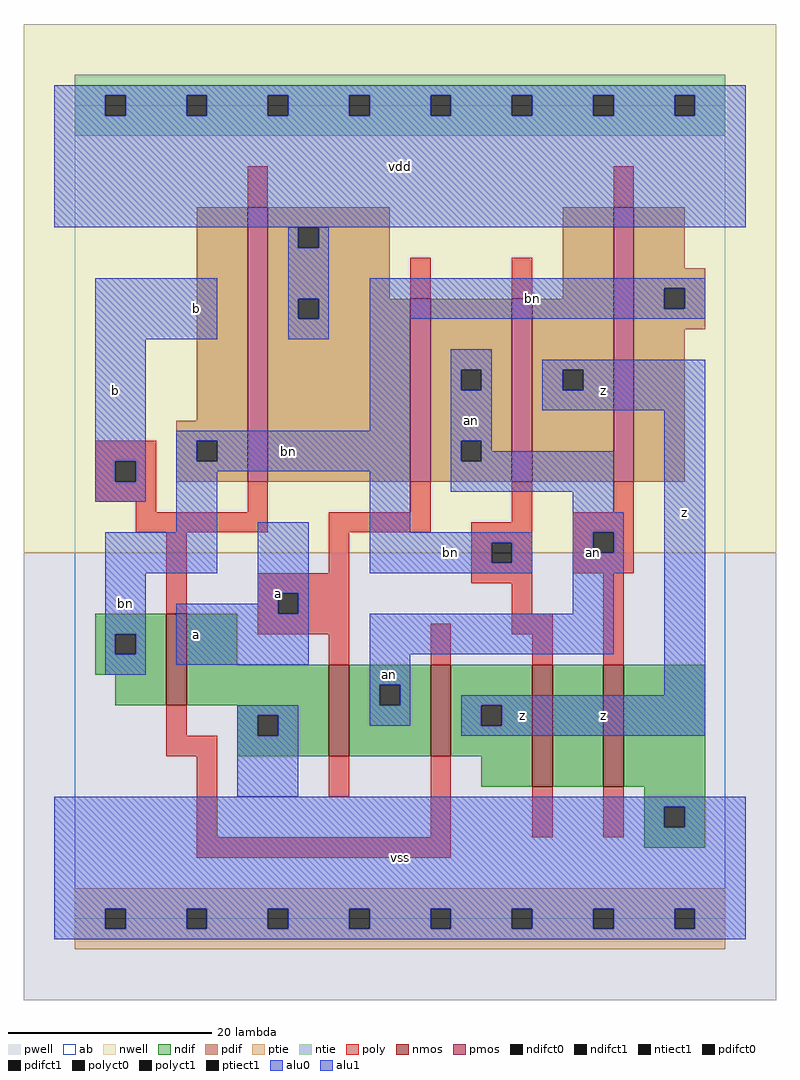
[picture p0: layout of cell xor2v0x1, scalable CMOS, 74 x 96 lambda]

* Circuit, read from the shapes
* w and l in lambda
.subckt xor2v0x1 a an b bn vdd vss z
M1 vss b bn vss nfet w=9 l=2
M2 an a vss vss nfet w=9 l=2
M3 z b an vss nfet w=9 l=2
M4 n1 bn z vss nfet w=12 l=2
M5 vss an n1 vss nfet w=12 l=2
M6 vdd b bn vdd pfet w=27 l=2
M7 an a vdd vdd pfet w=18 l=2
M8 z bn an vdd pfet w=18 l=2
M9 bn an z vdd pfet w=27 l=2
.ends

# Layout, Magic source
magic
tech scmos
<< ab >>
rect 0 0 64 80
<< nwell >>
rect -5 36 69 88
<< pwell >>
rect -5 -8 69 36
<< poly >>
rect 17 70 19 74
rect 53 70 55 74
rect 2 45 8 47
rect 2 43 4 45
rect 6 43 8 45
rect 33 61 35 65
rect 43 61 45 65
rect 2 41 8 43
rect 6 40 8 41
rect 17 40 19 43
rect 33 40 35 43
rect 6 38 19 40
rect 25 38 35 40
rect 43 39 45 43
rect 53 40 55 43
rect 9 30 11 38
rect 25 34 27 38
rect 18 32 27 34
rect 39 37 45 39
rect 39 35 41 37
rect 43 35 45 37
rect 39 33 45 35
rect 49 38 55 40
rect 49 36 51 38
rect 53 36 55 38
rect 49 34 55 36
rect 18 30 20 32
rect 22 30 27 32
rect 18 28 27 30
rect 43 30 45 33
rect 25 25 27 28
rect 35 25 37 29
rect 43 28 47 30
rect 45 25 47 28
rect 52 25 54 34
rect 9 18 11 21
rect 9 16 14 18
rect 12 8 14 16
rect 25 12 27 16
rect 35 8 37 16
rect 45 8 47 13
rect 52 8 54 13
rect 12 6 37 8
<< ndif >>
rect 2 28 9 30
rect 2 26 4 28
rect 6 26 9 28
rect 2 24 9 26
rect 4 21 9 24
rect 11 25 16 30
rect 11 21 25 25
rect 16 20 25 21
rect 16 18 18 20
rect 20 18 25 20
rect 16 16 25 18
rect 27 23 35 25
rect 27 21 30 23
rect 32 21 35 23
rect 27 16 35 21
rect 37 21 45 25
rect 37 19 40 21
rect 42 19 45 21
rect 37 16 45 19
rect 40 13 45 16
rect 47 13 52 25
rect 54 13 62 25
rect 56 11 62 13
rect 56 9 58 11
rect 60 9 62 11
rect 56 7 62 9
<< pdif >>
rect 12 49 17 70
rect 10 47 17 49
rect 10 45 12 47
rect 14 45 17 47
rect 10 43 17 45
rect 19 68 31 70
rect 19 66 22 68
rect 24 66 31 68
rect 19 61 31 66
rect 48 61 53 70
rect 19 59 22 61
rect 24 59 33 61
rect 19 43 33 59
rect 35 54 43 61
rect 35 52 38 54
rect 40 52 43 54
rect 35 47 43 52
rect 35 45 38 47
rect 40 45 43 47
rect 35 43 43 45
rect 45 54 53 61
rect 45 52 48 54
rect 50 52 53 54
rect 45 43 53 52
rect 55 64 60 70
rect 55 62 62 64
rect 55 60 58 62
rect 60 60 62 62
rect 55 58 62 60
rect 55 43 60 58
<< alu1 >>
rect -2 81 66 82
rect -2 79 3 81
rect 5 79 11 81
rect 13 79 19 81
rect 21 79 27 81
rect 29 79 35 81
rect 37 79 43 81
rect 45 79 51 81
rect 53 79 59 81
rect 61 79 66 81
rect -2 68 66 79
rect 2 57 14 63
rect 2 45 7 57
rect 2 43 4 45
rect 6 43 7 45
rect 2 41 7 43
rect 18 32 23 39
rect 46 54 62 55
rect 46 52 48 54
rect 50 52 62 54
rect 46 50 62 52
rect 18 31 20 32
rect 10 30 20 31
rect 22 30 23 32
rect 10 25 23 30
rect 58 22 62 50
rect 38 21 62 22
rect 38 19 40 21
rect 42 19 62 21
rect 38 18 62 19
rect -2 11 66 12
rect -2 9 58 11
rect 60 9 66 11
rect -2 1 66 9
rect -2 -1 3 1
rect 5 -1 11 1
rect 13 -1 19 1
rect 21 -1 27 1
rect 29 -1 35 1
rect 37 -1 43 1
rect 45 -1 51 1
rect 53 -1 59 1
rect 61 -1 66 1
rect -2 -2 66 -1
<< ptie >>
rect 0 1 64 3
rect 0 -1 3 1
rect 5 -1 11 1
rect 13 -1 19 1
rect 21 -1 27 1
rect 29 -1 35 1
rect 37 -1 43 1
rect 45 -1 51 1
rect 53 -1 59 1
rect 61 -1 64 1
rect 0 -3 64 -1
<< ntie >>
rect 0 81 64 83
rect 0 79 3 81
rect 5 79 11 81
rect 13 79 19 81
rect 21 79 27 81
rect 29 79 35 81
rect 37 79 43 81
rect 45 79 51 81
rect 53 79 59 81
rect 61 79 64 81
rect 0 77 64 79
<< nmos >>
rect 9 21 11 30
rect 25 16 27 25
rect 35 16 37 25
rect 45 13 47 25
rect 52 13 54 25
<< pmos >>
rect 17 43 19 70
rect 33 43 35 61
rect 43 43 45 61
rect 53 43 55 70
<< polyct0 >>
rect 41 35 43 37
rect 51 36 53 38
<< polyct1 >>
rect 4 43 6 45
rect 20 30 22 32
<< ndifct0 >>
rect 4 26 6 28
rect 18 18 20 20
rect 30 21 32 23
<< ndifct1 >>
rect 40 19 42 21
rect 58 9 60 11
<< ntiect1 >>
rect 3 79 5 81
rect 11 79 13 81
rect 19 79 21 81
rect 27 79 29 81
rect 35 79 37 81
rect 43 79 45 81
rect 51 79 53 81
rect 59 79 61 81
<< ptiect1 >>
rect 3 -1 5 1
rect 11 -1 13 1
rect 19 -1 21 1
rect 27 -1 29 1
rect 35 -1 37 1
rect 43 -1 45 1
rect 51 -1 53 1
rect 59 -1 61 1
<< pdifct0 >>
rect 12 45 14 47
rect 22 66 24 68
rect 22 59 24 61
rect 38 52 40 54
rect 38 45 40 47
rect 58 60 60 62
<< pdifct1 >>
rect 48 52 50 54
<< alu0 >>
rect 21 66 22 68
rect 24 66 25 68
rect 21 61 25 66
rect 21 59 22 61
rect 24 59 25 61
rect 21 57 25 59
rect 29 62 62 63
rect 29 60 58 62
rect 60 60 62 62
rect 29 59 62 60
rect 29 48 33 59
rect 10 47 33 48
rect 10 45 12 47
rect 14 45 33 47
rect 10 44 33 45
rect 10 38 14 44
rect 3 34 14 38
rect 3 28 7 34
rect 29 38 33 44
rect 37 54 41 56
rect 37 52 38 54
rect 40 52 41 54
rect 37 47 41 52
rect 37 45 38 47
rect 40 46 41 47
rect 40 45 53 46
rect 37 42 53 45
rect 49 40 53 42
rect 49 38 54 40
rect 29 37 45 38
rect 29 35 41 37
rect 43 35 45 37
rect 29 34 45 35
rect 49 36 51 38
rect 53 36 54 38
rect 49 34 54 36
rect 3 26 4 28
rect 6 26 7 28
rect 3 24 7 26
rect 49 30 53 34
rect 29 26 53 30
rect 29 23 33 26
rect 29 21 30 23
rect 32 21 33 23
rect 16 20 22 21
rect 16 18 18 20
rect 20 18 22 20
rect 29 19 33 21
rect 16 12 22 18
<< labels >>
rlabel alu0 5 31 5 31 6 bn
rlabel alu0 31 24 31 24 6 an
rlabel alu0 37 36 37 36 6 bn
rlabel alu0 39 49 39 49 6 an
rlabel alu0 21 46 21 46 6 bn
rlabel alu0 51 36 51 36 6 an
rlabel alu0 45 61 45 61 6 bn
rlabel alu1 12 28 12 28 6 a
rlabel alu1 4 52 4 52 6 b
rlabel alu1 12 60 12 60 6 b
rlabel alu1 20 32 20 32 6 a
rlabel alu1 32 6 32 6 6 vss
rlabel alu1 44 20 44 20 6 z
rlabel alu1 32 74 32 74 6 vdd
rlabel alu1 52 20 52 20 6 z
rlabel alu1 60 40 60 40 6 z
rlabel alu1 52 52 52 52 6 z
<< end >>
